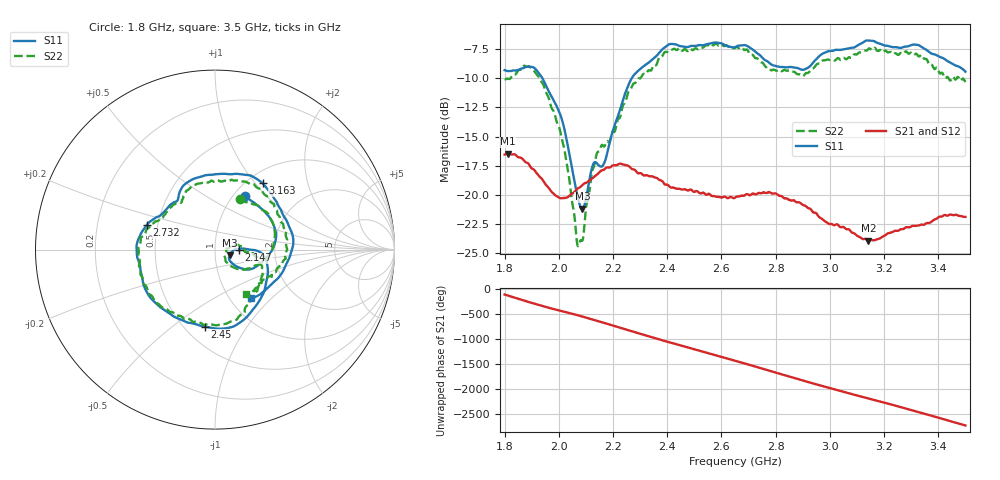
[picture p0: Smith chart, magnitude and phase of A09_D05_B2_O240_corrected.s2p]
! Created with skrf 1.9.0 (http://scikit-rf.org).
# Hz S RI R 50.0
!freq ReS11 ImS11 ReS21 ImS21 ReS12 ImS12 ReS22 ImS22
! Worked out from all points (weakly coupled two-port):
!   1601 points, 1.8 GHz to 3.5 GHz, reference 50 ohm
!   highest |S21| = -16.47 dB at 1.812 GHz (marker M1); lowest = -23.9 dB at 3.142 GHz (marker M2)
!   lowest |S11| = -21.2 dB at 2.087 GHz (marker M3), VSWR 1.19, Z = 58.7 - j3.78 ohm
!   |S11| at or under -10 dB: 1.939 GHz to 2.269 GHz (330.2 MHz wide, 15.7 % of centre)
!   |S22| runs from -24.4 to -7.0 dB; largest |S21 - S12| = 0.0027
!   S11 on the Smith chart (normalised r, x): 1.8 GHz: 1.12, +0.76; 2.147 GHz: 1.31, -0.01; 2.45 GHz: 0.63, -0.66; 2.732 GHz: 0.43, +0.14; 3.163 GHz: 1.17, +1.09; 3.5 GHz: 1.25, -0.76
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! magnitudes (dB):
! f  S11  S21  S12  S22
! 1.8 GHz  -9.3  -16.6  -16.6  -10.1
! 1.812 GHz  -9.4  -16.5  -16.5  -10.0
! 1.881 GHz  -9.0  -17.2  -17.2  -9.0
! 1.942 GHz  -10.1  -18.8  -18.8  -10.5
! 2.011 GHz  -13.5  -20.3  -20.3  -15.2
! 2.068 GHz  -20.0  -19.5  -19.5  -24.2
! 2.084 GHz  -21.2  -19.2  -19.2  -23.9
! 2.087 GHz  -21.2  -19.2  -19.2  -23.9
! 2.125 GHz  -17.5  -18.6  -18.6  -17.8
! 2.147 GHz  -17.5  -18.1  -18.1  -16.3
! 2.169 GHz  -17.2  -17.8  -17.8  -15.8
! 2.266 GHz  -10.1  -17.7  -17.7  -10.9
! 2.367 GHz  -7.9  -18.6  -18.6  -8.4
! 2.45 GHz  -7.3  -19.5  -19.5  -7.6
! 2.65 GHz  -7.4  -20.2  -20.2  -7.4
! 2.732 GHz  -7.9  -19.9  -19.9  -8.3
! 2.934 GHz  -8.8  -21.4  -21.3  -9.2
! 3.142 GHz  -6.8  -23.9  -23.8  -7.5
! 3.163 GHz  -6.8  -23.9  -23.8  -7.4
! 3.217 GHz  -7.3  -23.3  -23.2  -7.8
! 3.326 GHz  -7.2  -22.6  -22.6  -8.1
! 3.5 GHz  -9.5  -21.9  -21.9  -10.3
